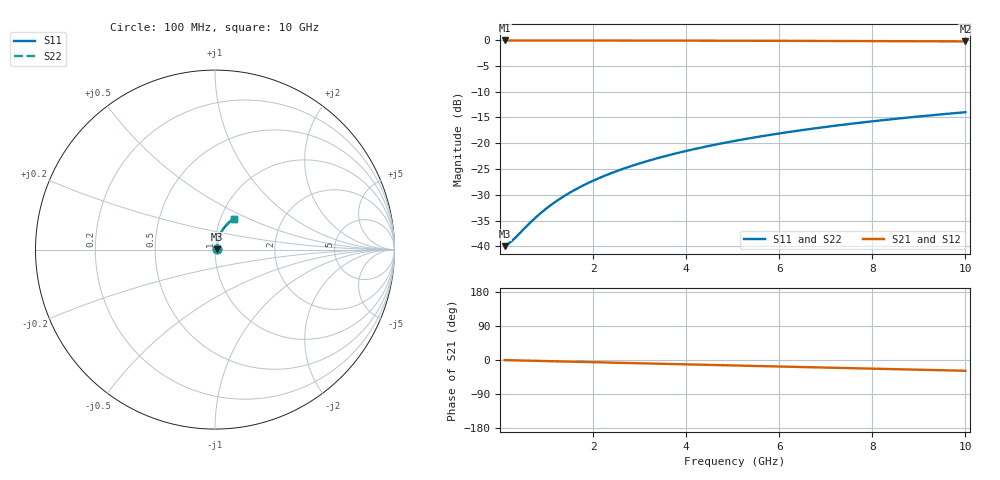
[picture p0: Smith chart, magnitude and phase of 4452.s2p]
# Hz S RI R 50.00
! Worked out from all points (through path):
!   100 points, 100 MHz to 10 GHz, reference 50 ohm
!   highest |S21| = -0.09 dB at 100 MHz (marker M1); lowest = -0.3 dB at 10 GHz (marker M2)
!   group delay of S21, straight-line fit = 7.9 ps
!   lowest |S11| = -39.9 dB at 100 MHz (marker M3), VSWR 1.02, Z = 51 + j0.21 ohm
!   |S11| at or under -10 dB: start of sweep to end of sweep
!   |S22| runs from -39.9 to -14.0 dB; largest |S21 - S12| = 0
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1e8  0.00985 0.00206  0.9901 -0.00497  0.9901 -0.00497  0.00985 0.00206
2e8  0.00994 0.00412  0.99 -0.00995  0.99 -0.00995  0.00994 0.00412
3e8  0.01 0.00617  0.9899 -0.0149  0.9899 -0.0149  0.01 0.00617
7e8  0.0106 0.0144  0.9892 -0.0348  0.9892 -0.0348  0.0106 0.0144
8e8  0.0108 0.0164  0.9889 -0.0398  0.9889 -0.0398  0.0108 0.0164
1e9  0.0112 0.0205  0.9884 -0.0497  0.9884 -0.0497  0.0112 0.0205
1.2e9  0.0117 0.0246  0.9877 -0.0596  0.9877 -0.0596  0.0117 0.0246
1.4e9  0.0122 0.0287  0.9869 -0.0695  0.9869 -0.0695  0.0122 0.0287
1.6e9  0.0129 0.0327  0.986 -0.0794  0.986 -0.0794  0.0129 0.0327
1.8e9  0.0136 0.0368  0.985 -0.0893  0.985 -0.0893  0.0136 0.0368
2.1e9  0.0148 0.0428  0.9832 -0.104  0.9832 -0.104  0.0148 0.0428
2.5e9  0.0168 0.0508  0.9805 -0.1237  0.9805 -0.1237  0.0168 0.0508
2.9e9  0.019 0.0587  0.9773 -0.1432  0.9773 -0.1432  0.019 0.0587
3.4e9  0.0223 0.0684  0.9727 -0.1675  0.9727 -0.1675  0.0223 0.0684
3.8e9  0.0252 0.076  0.9685 -0.1868  0.9685 -0.1868  0.0252 0.076
4.2e9  0.0284 0.0835  0.9639 -0.2059  0.9639 -0.2059  0.0284 0.0835
5.1e9  0.0368 0.0998  0.9519 -0.2485  0.9519 -0.2485  0.0368 0.0998
5.9e9  0.0454 0.1136  0.9395 -0.2855  0.9395 -0.2855  0.0454 0.1136
6.7e9  0.055 0.1266  0.9255 -0.3218  0.9255 -0.3218  0.055 0.1266
7.5e9  0.0656 0.1388  0.91 -0.3572  0.91 -0.3572  0.0656 0.1388
8.4e9  0.0785 0.1514  0.8908 -0.3959  0.8908 -0.3959  0.0785 0.1514
1e10  0.1039 0.1706  0.8524 -0.4614  0.8524 -0.4614  0.1039 0.1706
